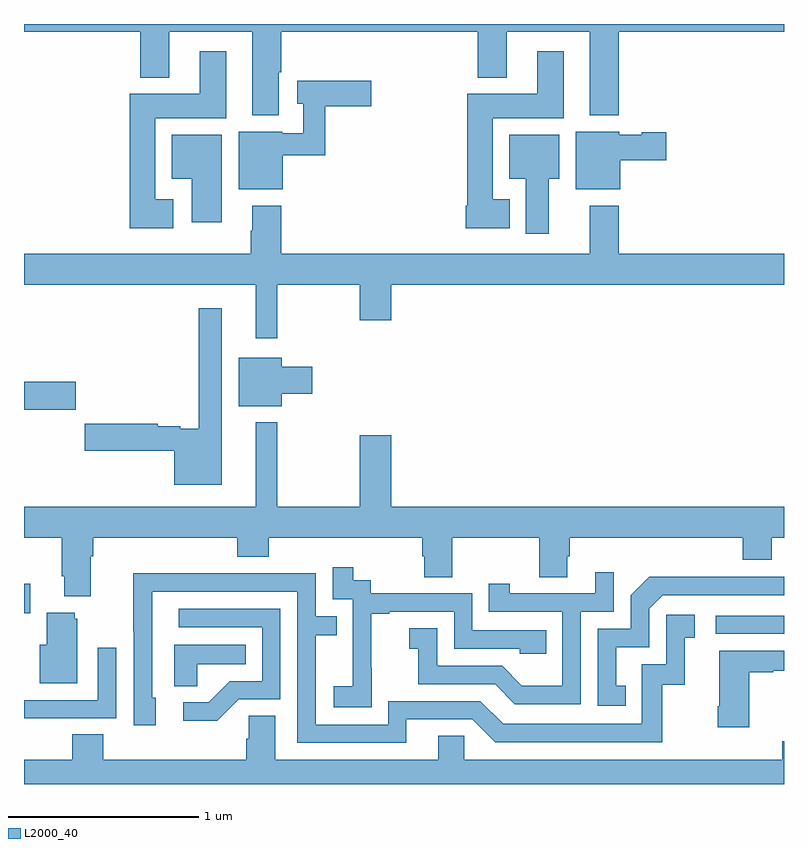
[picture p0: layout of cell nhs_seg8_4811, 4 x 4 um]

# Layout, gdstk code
import gdstk
lib = gdstk.Library(unit=1e-6, precision=1e-09)
def R(c, l, rs):  # rectangles x0, y0, x1, y1
    for r in rs: c.add(gdstk.rectangle(r[:2], r[2:], *l))
def P(c, l, *ps):  # polygons
    for p in ps: c.add(gdstk.Polygon(p, *l))
L2000_40 = (2000, 40)

nhs_seg8_4811 = lib.new_cell('nhs_seg8_4811')
R(nhs_seg8_4811, L2000_40, [(406.641,1086.69,407,1086.786), (403,1086.799,403.033,1086.955), (403,1087.871,403.273,1088.018)])
P(nhs_seg8_4811, L2000_40, [(404.341,1089.645),(404.354,1089.645),(404.354,1089.86),(405.389,1089.86),(405.389,1089.617),(405.541,1089.617),(405.541,1089.86),(405.977,1089.86),(405.977,1089.419),(406.13,1089.419),(406.13,1089.86),(407,1089.86),(407,1089.9),(403,1089.9),(403,1089.86),(403.613,1089.86),(403.613,1089.617),(403.765,1089.617),(403.765,1089.86),(404.201,1089.86),(404.201,1089.419),(404.341,1089.419)],
  [(405.556,1088.977),(405.466,1088.977),(405.466,1089.404),(405.841,1089.404),(405.841,1089.757),(405.701,1089.757),(405.701,1089.532),(405.332,1089.532),(405.332,1088.943),(405.326,1088.943),(405.326,1088.825),(405.556,1088.825)],
  [(403.786,1088.977),(403.69,1088.977),(403.69,1089.404),(404.065,1089.404),(404.065,1089.757),(403.925,1089.757),(403.925,1089.532),(403.556,1089.532),(403.556,1088.825),(403.786,1088.825)],
  [(404.362,1089.208),(404.585,1089.208),(404.585,1089.467),(404.827,1089.467),(404.827,1089.601),(404.438,1089.601),(404.438,1089.479),(404.469,1089.479),(404.469,1089.324),(404.358,1089.324),(404.358,1089.334),(404.129,1089.334),(404.129,1089.029),(404.362,1089.029)],
  [(406.138,1089.182),(406.381,1089.182),(406.381,1089.329),(406.251,1089.329),(406.251,1089.316),(406.134,1089.316),(406.134,1089.334),(405.905,1089.334),(405.905,1089.029),(406.138,1089.029)],
  [(404.041,1089.316),(403.778,1089.316),(403.778,1089.086),(403.883,1089.086),(403.883,1088.856),(404.041,1088.856)],
  [(405.763,1089.086),(405.817,1089.086),(405.817,1089.316),(405.554,1089.316),(405.554,1089.086),(405.641,1089.086),(405.641,1088.796),(405.763,1088.796)],
  [(404.768,1088.34),(404.932,1088.34),(404.932,1088.528),(407,1088.528),(407,1088.692),(406.13,1088.692),(406.13,1088.944),(405.977,1088.944),(405.977,1088.692),(404.354,1088.692),(404.354,1088.944),(404.201,1088.944),(404.201,1088.813),(404.194,1088.813),(404.194,1088.692),(403,1088.692),(403,1088.528),(404.219,1088.528),(404.219,1088.247),(404.333,1088.247),(404.333,1088.528),(404.768,1088.528)],
  [(404.041,1088.404),(403.92,1088.404),(403.92,1087.771),(403.823,1087.771),(403.823,1087.784),(403.704,1087.784),(403.704,1087.796),(403.32,1087.796),(403.32,1087.654),(403.79,1087.654),(403.79,1087.475),(404.041,1087.475)],
  [(404.356,1087.955),(404.518,1087.955),(404.518,1088.097),(404.356,1088.097),(404.356,1088.143),(404.129,1088.143),(404.129,1087.889),(404.356,1087.889)],
  [(403,1087.196),(403.199,1087.196),(403.199,1086.994),(403.211,1086.994),(403.211,1086.887),(403.351,1086.887),(403.351,1087.1),(403.364,1087.1),(403.364,1087.196),(404.123,1087.196),(404.123,1087.097),(404.288,1087.097),(404.288,1087.196),(405.095,1087.196),(405.095,1087.098),(405.107,1087.098),(405.107,1086.988),(405.255,1086.988),(405.255,1087.196),(405.712,1087.196),(405.712,1086.988),(405.859,1086.988),(405.859,1087.098),(405.872,1087.098),(405.872,1087.196),(406.784,1087.196),(406.784,1087.079),(406.936,1087.079),(406.936,1087.196),(407,1087.196),(407,1087.36),(404.932,1087.36),(404.932,1087.735),(404.768,1087.735),(404.768,1087.36),(404.333,1087.36),(404.333,1087.804),(404.219,1087.804),(404.219,1087.36),(403,1087.36)],
  [(404.829,1086.511),(404.828,1086.511),(404.828,1086.795),(404.923,1086.795),(404.923,1086.807),(405.264,1086.807),(405.264,1086.612),(405.609,1086.612),(405.609,1086.585),(405.749,1086.585),(405.749,1086.708),(405.36,1086.708),(405.36,1086.903),(404.826,1086.903),(404.826,1086.972),(404.734,1086.972),(404.734,1087.042),(404.625,1087.042),(404.625,1086.873),(404.73,1086.873),(404.73,1086.644),(404.729,1086.644),(404.729,1086.415),(404.631,1086.415),(404.631,1086.305),(404.829,1086.305)],
  [(405.93,1086.807),(406.104,1086.807),(406.104,1087.015),(406.007,1087.015),(406.007,1086.903),(405.556,1086.903),(405.556,1086.955),(405.445,1086.955),(405.445,1086.807),(405.834,1086.807),(405.834,1086.418),(405.62,1086.418),(405.516,1086.522),(405.174,1086.522),(405.174,1086.721),(405.027,1086.721),(405.027,1086.611),(405.076,1086.611),(405.076,1086.426),(405.479,1086.426),(405.584,1086.321),(405.93,1086.321)],
  [(405.013,1086.24),(405.36,1086.24),(405.48,1086.12),(406.36,1086.12),(406.36,1086.423),(406.478,1086.423),(406.478,1086.669),(406.531,1086.669),(406.531,1086.79),(406.38,1086.79),(406.38,1086.531),(406.251,1086.531),(406.251,1086.216),(405.522,1086.216),(405.402,1086.336),(404.916,1086.336),(404.916,1086.213),(404.535,1086.213),(404.535,1086.682),(404.645,1086.682),(404.645,1086.783),(404.535,1086.783),(404.535,1087.008),(404.039,1087.008),(404.039,1087.01),(403.576,1087.01),(403.576,1086.703),(403.578,1086.703),(403.578,1086.21),(403.693,1086.21),(403.693,1086.354),(403.674,1086.354),(403.674,1086.912),(404.439,1086.912),(404.439,1086.117),(405.013,1086.117)],
  [(406.166,1086.417),(406.117,1086.417),(406.117,1086.621),(406.29,1086.621),(406.29,1086.822),(406.362,1086.894),(407,1086.894),(407,1086.99),(406.7,1086.99),(406.7,1086.992),(406.292,1086.992),(406.194,1086.894),(406.194,1086.717),(406.02,1086.717),(406.02,1086.312),(406.166,1086.312)],
  [(404.13,1086.345),(404.349,1086.345),(404.349,1086.822),(403.815,1086.822),(403.815,1086.726),(404.253,1086.726),(404.253,1086.441),(404.084,1086.441),(403.973,1086.33),(403.839,1086.33),(403.839,1086.233),(404.017,1086.233)],
  [(403.279,1086.771),(403.268,1086.771),(403.268,1086.802),(403.121,1086.802),(403.121,1086.634),(403.082,1086.634),(403.082,1086.431),(403.279,1086.431)],
  [(403.911,1086.53),(404.168,1086.53),(404.168,1086.634),(403.79,1086.634),(403.79,1086.415),(403.911,1086.415)],
  [(403.169,1086.246),(403.485,1086.246),(403.485,1086.616),(403.389,1086.616),(403.389,1086.342),(403,1086.342),(403,1086.245),(403.169,1086.245)],
  [(406.816,1086.487),(406.943,1086.487),(406.943,1086.497),(407,1086.497),(407,1086.601),(406.658,1086.601),(406.658,1086.31),(406.651,1086.31),(406.651,1086.198),(406.816,1086.198)],
  [(407,1086.124),(406.991,1086.124),(406.991,1086.028),(405.318,1086.028),(405.318,1086.155),(405.179,1086.155),(405.179,1086.028),(404.323,1086.028),(404.323,1086.26),(404.184,1086.26),(404.184,1086.137),(404.171,1086.137),(404.171,1086.028),(403.418,1086.028),(403.418,1086.161),(403.253,1086.161),(403.253,1086.028),(403,1086.028),(403,1085.9),(407,1085.9)])

lib.write_gds('nhs_seg8_4811.gds')
